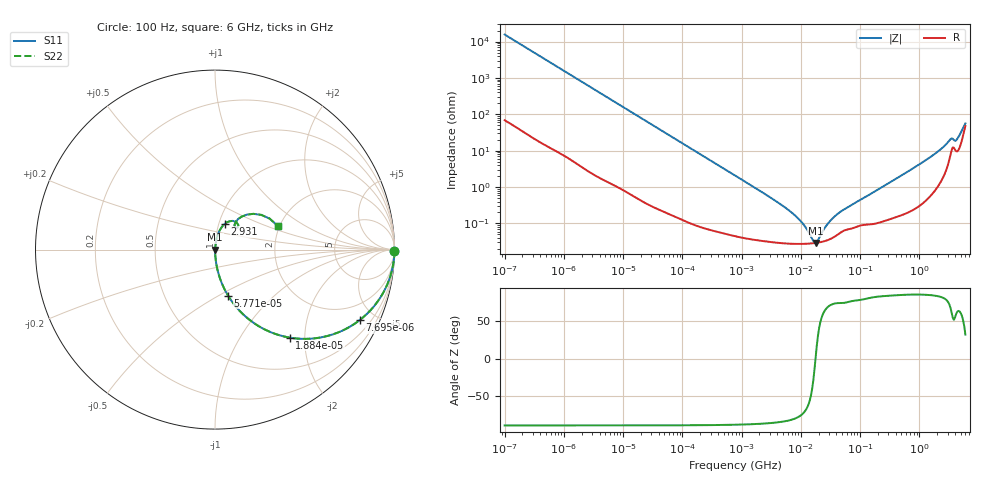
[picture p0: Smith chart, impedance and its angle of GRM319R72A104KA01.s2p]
!Murata Part Number: GRM319R72A104KA01
!These Parameters are Measured in Series Mode Connection
!Data Generated on Mar 30, 2021
!  o--ll--o
!Port1  Port2
!  o------o
!Operation Temp=25[degC], DC Bias Voltage=0[V]
!Freq. Start=100[Hz] Stop=6[GHz] 401[Steps]
# Hz S RI R 50
!Freq.(Hz) S11(Real) S11(Imag) S21(Real) S21(Imag) S12(Real) S12(Imag) S22(Real) S22(Imag)
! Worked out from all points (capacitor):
!   401 points, 100 Hz to 6 GHz, reference 50 ohm
!   read as one part in series: C = 101 nF near 109 Hz
!   lowest |Z| = 29.1 mohm at 17.79 MHz (marker M1)
!   series resonance near 17.71 MHz, so ESL is about 800 pH
!   S11 on the Smith chart (normalised r, x): 100 Hz: open; 7.695 kHz: 1.02, -4.12; 18.84 kHz: 1.01, -1.69; 57.71 kHz: 1.00, -0.55; 2.931 GHz: 1.07, +0.31; 6 GHz: 1.95, +0.60
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100  0.9999 -0.00638  6.88e-05 0.00638  6.88e-05 0.00638  0.9999 -0.00638
2008  0.9836 -0.125  0.0164 0.125  0.0164 0.125  0.9836 -0.125
4299  0.9303 -0.2524  0.0697 0.2524  0.0697 0.2524  0.9303 -0.2524
7695  0.8081 -0.3913  0.1919 0.3913  0.1919 0.3913  0.8081 -0.3913
18841  0.4164 -0.4903  0.5836 0.4903  0.5836 0.4903  0.4164 -0.4903
40335  0.1365 -0.3403  0.8635 0.3403  0.8635 0.3403  0.1365 -0.3403
57709  0.0725 -0.2559  0.9275 0.2559  0.9275 0.2559  0.0725 -0.2559
169018  0.00975 -0.0938  0.9902 0.0938  0.9902 0.0938  0.00975 -0.0938
774597  0.000878 -0.0208  0.9991 0.0208  0.9991 0.0208  0.000878 -0.0208
6948629  0.00028 -0.00199  0.9997 0.00199  0.9997 0.00199  0.00028 -0.00199
1.087309e7  0.000275 -0.00094  0.9997 0.00094  0.9997 0.00094  0.000275 -0.00094
1.555665e7  0.000283 -0.000241  0.9997 0.000241  0.9997 0.000241  0.000283 -0.000241
1.779312e7  0.000291 8.5e-06  0.9997 -8.5e-06  0.9997 -8.5e-06  0.000291 8.5e-06
2.784235e7  0.000345 0.000867  0.9997 -0.000867  0.9997 -0.000867  0.000345 0.000867
4.165952e7  0.000492 0.00175  0.9995 -0.00175  0.9995 -0.00175  0.000492 0.00175
3.124326e8  0.00146 0.0131  0.9985 -0.0131  0.9985 -0.0131  0.00146 0.0131
1.431855e9  0.00868 0.0607  0.9913 -0.0607  0.9913 -0.0607  0.00868 0.0607
2.931063e9  0.0541 0.143  0.9459 -0.143  0.9459 -0.143  0.0541 0.143
3.352442e9  0.0987 0.1602  0.9013 -0.1602  0.9013 -0.1602  0.0987 0.1602
4.193612e9  0.1085 0.1358  0.8915 -0.1358  0.8915 -0.1358  0.1085 0.1358
5.016141e9  0.1775 0.1948  0.8225 -0.1948  0.8225 -0.1948  0.1775 0.1948
6e9  0.3493 0.1318  0.6507 -0.1318  0.6507 -0.1318  0.3493 0.1318
